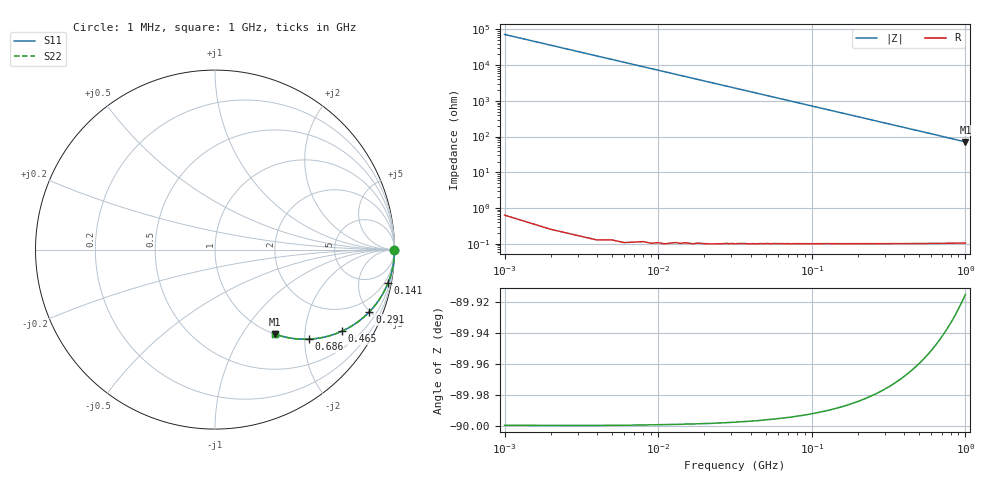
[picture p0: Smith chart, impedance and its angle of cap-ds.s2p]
! TOUCHSTONE file generated by CST DESIGN STUDIO
! Date and time: Tue Feb 27 15:32:51 2018
! Project name:  Project name: U:\2019-testing\PCBS-part-import\AcceptanceTest\cap-ds.cst
! Tree item: Tasks\SPara1\S-Parameters
! Header version: 2018
! Port assignment regex: !\s*Touchstone port\s*([0-9]+)\s*=\s*(CST MWS port|CST DS port)\s*([0-9]+)\s*\(\"(.*)\"\)(\s*mode\s*([0-9]+))?.*
! Touchstone port assignment:
! Touchstone port 1 = CST DS port 1 ("")
! Touchstone port 2 = CST DS port 2 ("")
# GHz S MA R 50
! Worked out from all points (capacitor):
!   1000 points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, 1 MHz to 1 GHz, reference 50 ohm
!   read as one part in series: C = 2.2 pF near 6 MHz
!   lowest |Z| = 70.9 ohm at 1 GHz (marker M1)
!   S11 on the Smith chart (normalised r, x): 1 MHz: open; 141 MHz: 1, -10; 291 MHz: 1.00, -4.96; 465 MHz: 1.00, -3.10; 686 MHz: 1.00, -2.09; 1 GHz: 1.00, -1.42
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0.001  1 -0.1  0.001382 89.9  0.001382 89.9  1 -0.1
0.003  1 -0.2  0.004147 89.8  0.004147 89.8  1 -0.2
0.007  1 -0.6  0.009676 89.4  0.009676 89.4  1 -0.6
0.008  0.9999 -0.6  0.01106 89.4  0.01106 89.4  0.9999 -0.6
0.012  0.9999 -1.0  0.01659 89.0  0.01659 89.0  0.9999 -1.0
0.016  0.9998 -1.3  0.02211 88.7  0.02211 88.7  0.9998 -1.3
0.021  0.9996 -1.7  0.02902 88.3  0.02902 88.3  0.9996 -1.7
0.033  0.999 -2.6  0.04557 87.4  0.04557 87.4  0.999 -2.6
0.051  0.9975 -4.0  0.07033 86.0  0.07033 86.0  0.9975 -4.0
0.074  0.9948 -5.8  0.1018 84.2  0.1018 84.2  0.9948 -5.8
0.104  0.9898 -8.2  0.1423 81.8  0.1423 81.8  0.9898 -8.2
0.141  0.9815 -11.0  0.1914 79.0  0.1914 79.0  0.9815 -11.0
0.168  0.974 -13.1  0.2263 76.9  0.2263 76.9  0.974 -13.1
0.224  0.9551 -17.2  0.296 72.8  0.296 72.8  0.9551 -17.2
0.291  0.9274 -21.9  0.3737 68.0  0.3737 68.0  0.9274 -21.9
0.334  0.9074 -24.8  0.4199 65.1  0.4199 65.1  0.9074 -24.8
0.465  0.8399 -32.8  0.5422 57.1  0.5422 57.1  0.8399 -32.8
0.501  0.8205 -34.8  0.5711 55.1  0.5711 55.1  0.8205 -34.8
0.667  0.7318 -42.9  0.6808 47.0  0.6808 47.0  0.7318 -42.9
0.686  0.722 -43.7  0.6912 46.2  0.6912 46.2  0.722 -43.7
0.834  0.6496 -49.4  0.7595 40.5  0.7595 40.5  0.6496 -49.4
1  0.5779 -54.6  0.8152 35.3  0.8152 35.3  0.5779 -54.6
